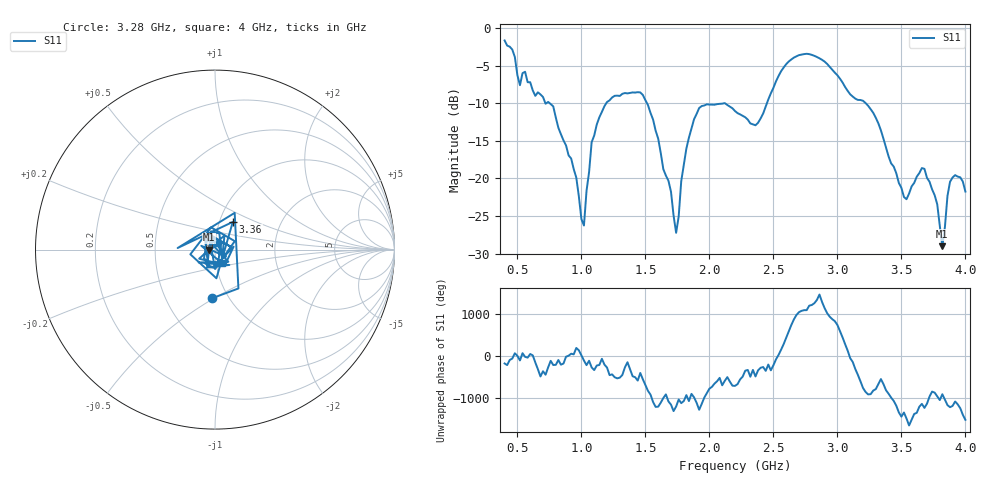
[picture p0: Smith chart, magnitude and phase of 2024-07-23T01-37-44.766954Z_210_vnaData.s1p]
!Created with skrf (http://scikit-rf.org).
# Hz S RI R 50.0
!freq ReS11 ImS11
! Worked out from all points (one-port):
!   181 points, 400 MHz to 4 GHz, reference 50 ohm
!   lowest |S11| = -29.0 dB at 3.82 GHz (marker M1), VSWR 1.07, Z = 46.6 - j0.0189 ohm
!   |S11| at or under -10 dB: 751.5 MHz to 1.195 GHz (443.2 MHz wide, 45.5 % of centre); 1.512 GHz to 2.119 GHz (607.1 MHz wide, 33.4 % of centre); 3.221 GHz to end of sweep (the widest 3 of 5)
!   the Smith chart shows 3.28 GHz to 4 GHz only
!   S11 on the Smith chart (normalised r, x): 3.28 GHz: 0.83, -0.49; 3.36 GHz: 1.16, +0.37; 4 GHz: 1.07, -0.16
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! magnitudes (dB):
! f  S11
! 400 MHz  -1.7
! 520 MHz  -7.6
! 560 MHz  -5.8
! 780 MHz  -10.4
! 860 MHz  -14.9
! 960 MHz  -19.9
! 1.02 GHz  -26.3
! 1.08 GHz  -15.2
! 1.3 GHz  -9.0
! 1.52 GHz  -10.3
! 1.7 GHz  -21.8
! 1.74 GHz  -27.2
! 1.76 GHz  -25.1
! 1.82 GHz  -16.0
! 1.92 GHz  -10.6
! 2.2 GHz  -11.1
! 2.36 GHz  -12.9
! 2.66 GHz  -4.0
! 2.88 GHz  -4.2
! 3.1 GHz  -8.8
! 3.28 GHz  -11.3
! 3.36 GHz  -14.7
! 3.56 GHz  -22.0
! 3.68 GHz  -18.7
! 3.78 GHz  -23.4
! 3.82 GHz  -29.0
! 3.88 GHz  -20.5
! 4 GHz  -21.8
